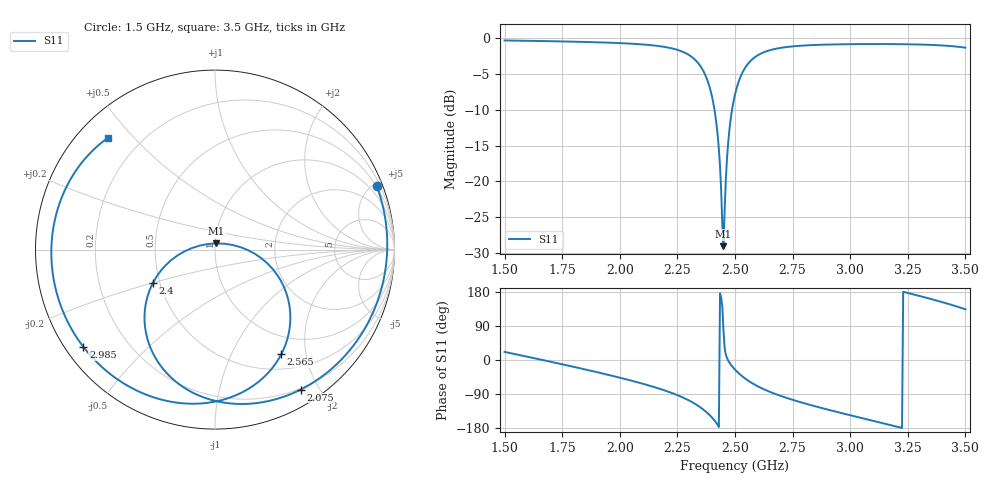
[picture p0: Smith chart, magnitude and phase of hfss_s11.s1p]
! Touchstone file exported from HFSS 2025.2.4
!  File:  C:/Users/aysen/Documents/Ansoft/Patch_Antenna_2p45GHz_Final.aedt
!  Generated:  12:41:07 AM Oct  9, 2026
!  Design:  HFSSDesign1
!  Project:  Patch_Antenna_2p45GHz_Final
!  Setup:  Setup1
!  Solution:  Sweep
# GHz S MA R 50.000000
! Terminal data exported
! Port[1] = Patch_T1
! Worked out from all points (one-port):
!   401 points, 1.5 GHz to 3.5 GHz, reference 50 ohm
!   lowest |S11| = -29.0 dB at 2.45 GHz (marker M1), VSWR 1.07, Z = 50.6 + j3.5 ohm
!   |S11| at or under -10 dB: 2.411 GHz to 2.487 GHz (76.08 MHz wide, 3.11 % of centre)
!   S11 on the Smith chart (normalised r, x): 1.5 GHz: 0.46, +5.26; 2.075 GHz: 0.19, -1.77; 2.4 GHz: 0.46, -0.20; 2.565 GHz: 0.71, -1.58; 2.985 GHz: 0.05, -0.33; 3.5 GHz: 0.09, +0.42
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1.5  0.9686 21.4
! Gamma 0 0
! Port Impedance 50 0
1.75  0.9536 -11.3
1.875  0.9431 -28.4
2  0.9282 -46.6
2.075  0.9145 -58.5
2.175  0.8826 -76.3
2.25  0.8324 -92.7
2.325  0.7142 -115.1
2.365  0.5825 -132.0
2.4  0.3937 -151.7
2.42  0.2491 -166.7
2.43  0.1686 -176.9
2.44  0.08663 164.9
2.45  0.0353 78.3
2.455  0.06229 31.7
2.475  0.224 -6.1
2.5  0.4053 -25.3
2.53  0.5675 -42.3
2.565  0.6902 -57.7
2.645  0.8223 -82.5
2.75  0.8806 -105.1
2.855  0.9018 -123.3
2.985  0.912 -143.5
3  0.9126 -145.8
3.125  0.9144 -164.3
3.25  0.9108 176.9
3.38  0.8974 156.1
3.5  0.8621 133.8
